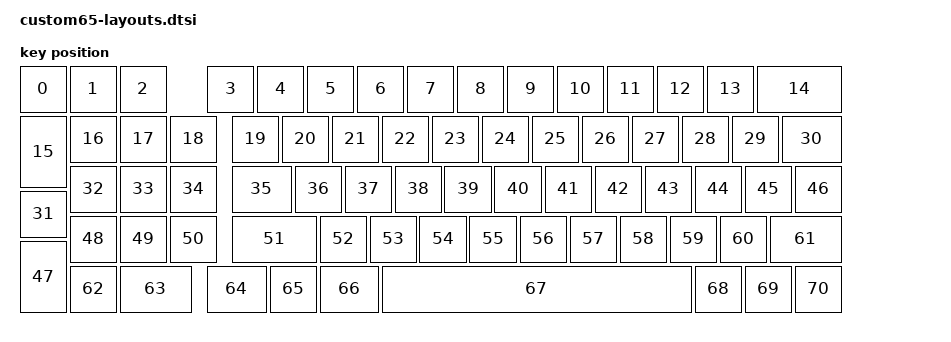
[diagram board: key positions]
#include <physical_layouts.dtsi>

/ {
    physical_layout_custom65: physical_layout_custom65 {
        compatible = "zmk,physical-layout";
        display-name = "custom65";
        keys  //                     w   h    x    y     rot    rx    ry
            = <&key_physical_attrs 100 100    0    0       0     0     0>
            , <&key_physical_attrs 100 100  100    0       0   100     0>
            , <&key_physical_attrs 100 100  200    0       0   200     0>
            , <&key_physical_attrs 100 100  375    0       0   375     0>
            , <&key_physical_attrs 100 100  475    0       0   475     0>
            , <&key_physical_attrs 100 100  575    0       0   575     0>
            , <&key_physical_attrs 100 100  675    0       0   675     0>
            , <&key_physical_attrs 100 100  775    0       0   775     0>
            , <&key_physical_attrs 100 100  875    0       0   875     0>
            , <&key_physical_attrs 100 100  975    0       0   975     0>
            , <&key_physical_attrs 100 100 1075    0       0  1075     0>
            , <&key_physical_attrs 100 100 1175    0       0  1175     0>
            , <&key_physical_attrs 100 100 1275    0       0  1275     0>
            , <&key_physical_attrs 100 100 1375    0       0  1375     0>
            , <&key_physical_attrs 175 100 1475    0       0  1475     0>

            , <&key_physical_attrs 100 150    0  100       0     0   100>
            , <&key_physical_attrs 100 100  100  100       0   100   100>
            , <&key_physical_attrs 100 100  200  100       0   200   100>
            , <&key_physical_attrs 100 100  300  100       0   300   100>
            , <&key_physical_attrs 100 100  425  100       0   425   100>
            , <&key_physical_attrs 100 100  525  100       0   525   100>
            , <&key_physical_attrs 100 100  625  100       0   625   100>
            , <&key_physical_attrs 100 100  725  100       0   725   100>
            , <&key_physical_attrs 100 100  825  100       0   825   100>
            , <&key_physical_attrs 100 100  925  100       0   925   100>
            , <&key_physical_attrs 100 100 1025  100       0  1025   100>
            , <&key_physical_attrs 100 100 1125  100       0  1125   100>
            , <&key_physical_attrs 100 100 1225  100       0  1225   100>
            , <&key_physical_attrs 100 100 1325  100       0  1325   100>
            , <&key_physical_attrs 100 100 1425  100       0  1425   100>
            , <&key_physical_attrs 125 100 1525  100       0  1525   100>

            , <&key_physical_attrs 100 100    0  250       0     0   250>
            , <&key_physical_attrs 100 100  100  200       0   100   200>
            , <&key_physical_attrs 100 100  200  200       0   200   200>
            , <&key_physical_attrs 100 100  300  200       0   300   200>
            , <&key_physical_attrs 125 100  425  200       0   425   200>
            , <&key_physical_attrs 100 100  550  200       0   550   200>
            , <&key_physical_attrs 100 100  650  200       0   650   200>
            , <&key_physical_attrs 100 100  750  200       0   750   200>
            , <&key_physical_attrs 100 100  850  200       0   850   200>
            , <&key_physical_attrs 100 100  950  200       0   950   200>
            , <&key_physical_attrs 100 100 1050  200       0  1050   200>
            , <&key_physical_attrs 100 100 1150  200       0  1150   200>
            , <&key_physical_attrs 100 100 1250  200       0  1250   200>
            , <&key_physical_attrs 100 100 1350  200       0  1350   200>
            , <&key_physical_attrs 100 100 1450  200       0  1450   200>
            , <&key_physical_attrs 100 100 1550  200       0  1550   200>

            , <&key_physical_attrs 100 150    0  350       0     0   350>
            , <&key_physical_attrs 100 100  100  300       0   100   300>
            , <&key_physical_attrs 100 100  200  300       0   200   300>
            , <&key_physical_attrs 100 100  300  300       0   300   300>
            , <&key_physical_attrs 175 100  425  300       0   425   300>
            , <&key_physical_attrs 100 100  600  300       0   600   300>
            , <&key_physical_attrs 100 100  700  300       0   700   300>
            , <&key_physical_attrs 100 100  800  300       0   800   300>
            , <&key_physical_attrs 100 100  900  300       0   900   300>
            , <&key_physical_attrs 100 100 1000  300       0  1000   300>
            , <&key_physical_attrs 100 100 1100  300       0  1100   300>
            , <&key_physical_attrs 100 100 1200  300       0  1200   300>
            , <&key_physical_attrs 100 100 1300  300       0  1300   300>
            , <&key_physical_attrs 100 100 1400  300       0  1400   300>
            , <&key_physical_attrs 150 100 1500  300       0  1500   300>

            , <&key_physical_attrs 100 100  100  400       0   100   400>
            , <&key_physical_attrs 150 100  200  400       0   200   400>
            , <&key_physical_attrs 125 100  375  400       0   375   400>
            , <&key_physical_attrs 100 100  500  400       0   500   400>
            , <&key_physical_attrs 125 100  600  400       0   600   400>
            , <&key_physical_attrs 625 100  725  400       0   725   400>
            , <&key_physical_attrs 100 100 1350  400       0  1350   400>
            , <&key_physical_attrs 100 100 1450  400       0  1450   400>
            , <&key_physical_attrs 100 100 1550  400       0  1550   400>
            ;
    };
};
